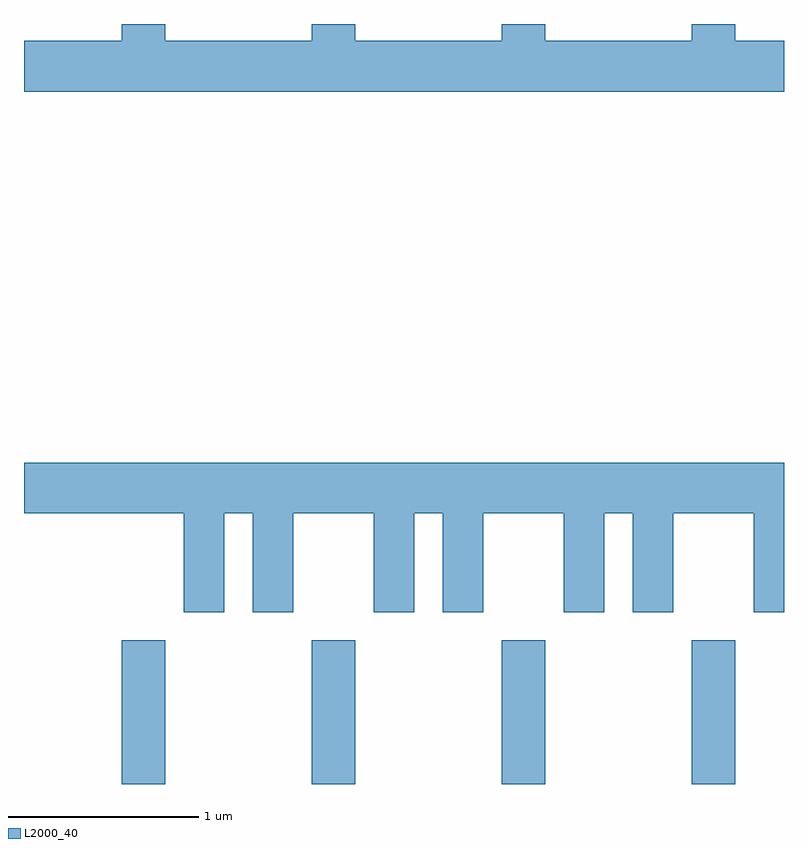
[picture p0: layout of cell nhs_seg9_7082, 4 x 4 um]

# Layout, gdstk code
import gdstk
lib = gdstk.Library(unit=1e-6, precision=1e-09)
def R(c, l, rs):  # rectangles x0, y0, x1, y1
    for r in rs: c.add(gdstk.rectangle(r[:2], r[2:], *l))
def A(c, l, x, y, w, h, nx, ny, dx, dy):  # array of equal rectangles
    R(c, l, [(x+i*dx, y+j*dy, x+i*dx+w, y+j*dy+h) for i in range(nx) for j in range(ny)])
def P(c, l, *ps):  # polygons
    for p in ps: c.add(gdstk.Polygon(p, *l))
L2000_40 = (2000, 40)

nhs_seg9_7082 = lib.new_cell('nhs_seg9_7082')
A(nhs_seg9_7082, L2000_40, 396.126, 1950.432, 0.228, 0.757, 4, 1, 1, 0)
P(nhs_seg9_7082, L2000_40, [(399.611,1954.344),(399.354,1954.344),(399.354,1954.432),(399.126,1954.432),(399.126,1954.344),(398.354,1954.344),(398.354,1954.432),(398.126,1954.432),(398.126,1954.344),(397.354,1954.344),(397.354,1954.432),(397.126,1954.432),(397.126,1954.344),(396.354,1954.344),(396.354,1954.432),(396.126,1954.432),(396.126,1954.344),(395.611,1954.344),(395.611,1954.076),(399.611,1954.076)],
  [(396.664,1951.856),(396.816,1951.856),(396.816,1951.336),(397.029,1951.336),(397.029,1951.856),(397.451,1951.856),(397.451,1951.336),(397.664,1951.336),(397.664,1951.856),(397.816,1951.856),(397.816,1951.336),(398.029,1951.336),(398.029,1951.856),(398.451,1951.856),(398.451,1951.336),(398.664,1951.336),(398.664,1951.856),(398.816,1951.856),(398.816,1951.336),(399.029,1951.336),(399.029,1951.856),(399.451,1951.856),(399.451,1951.336),(399.611,1951.336),(399.611,1952.124),(395.611,1952.124),(395.611,1951.856),(396.451,1951.856),(396.451,1951.336),(396.664,1951.336)])

lib.write_gds('nhs_seg9_7082.gds')
